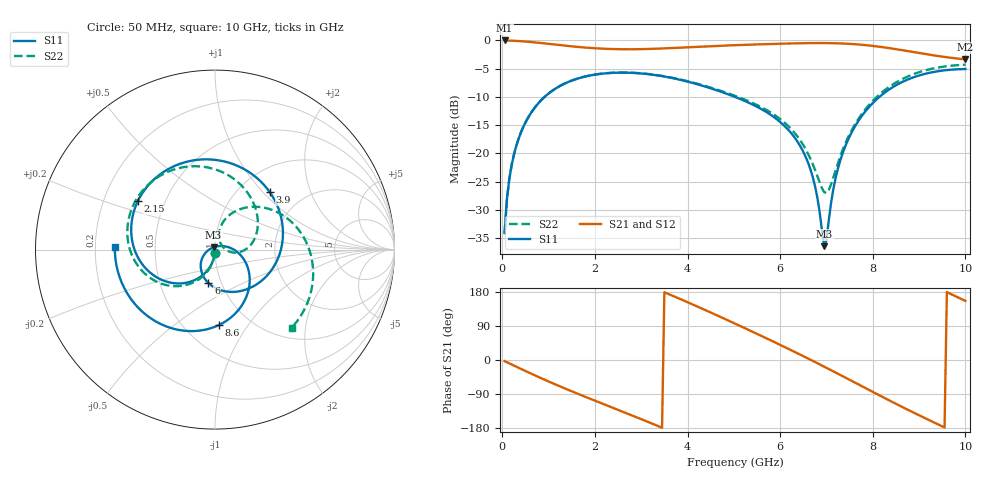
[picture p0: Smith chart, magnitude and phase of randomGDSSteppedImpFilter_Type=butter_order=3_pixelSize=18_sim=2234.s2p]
! freq	dB(S11)	phase(S11)	dB(S12)	phase(S12)
!  dB(S21)	phase(S21)	dB(S22)	phase(S22)
!S-par simulation data
#  GHz  S  DB  R 50
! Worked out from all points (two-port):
!   200 points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, 50 MHz to 10 GHz, reference 50 ohm
!   highest |S21| = -0.01 dB at 50 MHz (marker M1); lowest = -3.3 dB at 10 GHz (marker M2)
!   |S21| within 3 dB of the highest: start of sweep to 9.625 GHz
!   lowest |S11| = -36.4 dB at 6.95 GHz (marker M3), VSWR 1.03, Z = 49.2 + j1.24 ohm
!   |S11| at or under -10 dB: start of sweep to 913.6 MHz; 5.026 GHz to 8.142 GHz (3.116 GHz wide, 47.3 % of centre)
!   |S22| runs from -34.1 to -4.3 dB; largest |S21 - S12| = 0
!   S11 on the Smith chart (normalised r, x): 50 MHz: 1.00, -0.04; 2.15 GHz: 0.35, +0.25; 3.9 GHz: 1.37, +1.09; 6 GHz: 0.87, -0.34; 8.6 GHz: 0.72, -0.74; 10 GHz: 0.28, +0.01
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0.05  -34.10 -93.0  -0.01 -3.0  -0.01 -3.0  -34.10 -92.8
0.1  -28.10 -96.3  -0.02 -5.9  -0.02 -5.9  -28.10 -95.8
0.2  -22.15 -102.6  -0.04 -11.8  -0.04 -11.8  -22.14 -101.6
0.5  -14.53 -120.8  -0.20 -29.1  -0.20 -29.1  -14.52 -118.3
1.1  -8.79 -155.5  -0.70 -62.0  -0.70 -62.0  -8.78 -149.7
1.75  -6.47 169.2  -1.24 -95.1  -1.24 -95.1  -6.46 179.5
2.15  -5.89 147.9  -1.45 -114.6  -1.45 -114.6  -5.87 161.8
2.8  -5.74 112.7  -1.56 -146.2  -1.56 -146.2  -5.71 134.2
3.4  -6.25 77.9  -1.44 -176.1  -1.44 -176.1  -6.21 109.5
3.9  -7.08 46.5  -1.26 157.9  -1.26 157.9  -7.01 89.5
5.05  -10.08 -33.1  -0.84 94.7  -0.84 94.7  -9.88 45.1
5.5  -11.74 -65.4  -0.71 69.0  -0.71 69.0  -11.43 27.6
6  -14.44 -101.2  -0.59 40.0  -0.59 40.0  -13.92 7.8
6.7  -24.07 -157.3  -0.47 -2.1  -0.47 -2.1  -21.82 -7.8
6.95  -36.42 123.3  -0.47 -17.5  -0.47 -17.5  -26.85 23.2
7.2  -24.27 16.9  -0.50 -33.2  -0.50 -33.2  -22.90 71.8
7.4  -18.87 -2.8  -0.56 -45.9  -0.56 -45.9  -18.37 76.8
7.85  -12.45 -36.5  -0.83 -74.6  -0.83 -74.6  -12.09 61.0
8.35  -8.70 -70.6  -1.35 -106.3  -1.35 -106.3  -8.25 34.9
8.6  -7.50 -87.2  -1.68 -121.8  -1.68 -121.8  -7.00 21.5
9.25  -5.69 -130.0  -2.56 -160.6  -2.56 -160.6  -5.06 -11.8
10  -5.06 178.4  -3.35 155.9  -3.35 155.9  -4.30 -45.4
